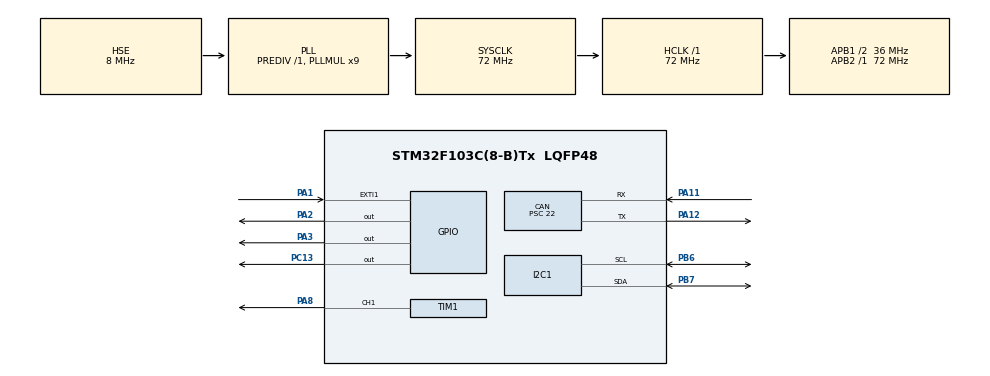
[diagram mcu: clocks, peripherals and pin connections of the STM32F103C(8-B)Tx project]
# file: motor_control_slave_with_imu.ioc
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CAN.BS1=CAN_BS1_2TQ
CAN.BS2=CAN_BS2_2TQ
CAN.CalculateBaudRate=327272
CAN.CalculateTimeBit=3055
CAN.CalculateTimeQuantum=611.1111111111111
CAN.Prescaler=22
I2C1.I2C_Mode=I2C_Fast
Mcu.Family=STM32F1
Mcu.Name=STM32F103C(8-B)Tx
Mcu.Package=LQFP48
NVIC.CAN1_RX1_IRQn=true\:0\:0\:false\:false\:true\:true\:true\:true
NVIC.CAN1_SCE_IRQn=true\:0\:0\:false\:false\:true\:true\:true\:true
NVIC.EXTI1_IRQn=true\:0\:0\:false\:false\:true\:true\:true\:true
NVIC.I2C1_EV_IRQn=true\:0\:0\:false\:false\:true\:true\:true\:true
NVIC.PriorityGroup=NVIC_PRIORITYGROUP_4
NVIC.TIM2_IRQn=true\:0\:0\:false\:false\:true\:true\:true\:true
NVIC.USB_HP_CAN1_TX_IRQn=true\:0\:0\:false\:false\:true\:true\:true\:true
NVIC.USB_LP_CAN1_RX0_IRQn=true\:0\:0\:false\:false\:true\:true\:true\:true
PA1.GPIO_ModeDefaultEXTI=GPIO_MODE_IT_RISING_FALLING
PA1.GPIO_PuPd=GPIO_PULLDOWN
PA1.Signal=GPXTI1
PA11.Mode=CAN_Activate
PA11.Signal=CAN_RX
PA12.Mode=CAN_Activate
PA12.Signal=CAN_TX
PA13.Mode=Serial_Wire
PA13.Signal=SYS_JTMS-SWDIO
PA14.Mode=Serial_Wire
PA14.Signal=SYS_JTCK-SWCLK
PA2.Signal=GPIO_Output
PA3.Signal=GPIO_Output
PA8.Signal=S_TIM1_CH1
PB6.Mode=I2C
PB6.Signal=I2C1_SCL
PB7.Mode=I2C
PB7.Signal=I2C1_SDA
PC13-TAMPER-RTC.Signal=GPIO_Output
PD0-OSC_IN.Mode=HSE-External-Oscillator
PD0-OSC_IN.Signal=RCC_OSC_IN
PD1-OSC_OUT.Mode=HSE-External-Oscillator
PD1-OSC_OUT.Signal=RCC_OSC_OUT
ProjectManager.HeapSize=0x200
ProjectManager.StackSize=0x400
ProjectManager.TargetToolchain=STM32CubeIDE
RCC.AHBFreq_Value=72000000
RCC.APB1CLKDivider=RCC_HCLK_DIV2
RCC.APB1Freq_Value=36000000
RCC.APB1TimFreq_Value=72000000
RCC.APB2Freq_Value=72000000
RCC.APB2TimFreq_Value=72000000
RCC.HCLKFreq_Value=72000000
RCC.PLLMUL=RCC_PLL_MUL9
RCC.PLLSourceVirtual=RCC_PLLSOURCE_HSE
RCC.SYSCLKFreq_VALUE=72000000
RCC.SYSCLKSource=RCC_SYSCLKSOURCE_PLLCLK
RCC.USBFreq_Value=72000000
SH.S_TIM1_CH1.0=TIM1_CH1,PWM Generation1 CH1
TIM1.AutoReloadPreload=TIM_AUTORELOAD_PRELOAD_ENABLE
TIM1.Channel-PWM\ Generation1\ CH1=TIM_CHANNEL_1
TIM1.Period=100-1
TIM1.Prescaler=72-1
TIM2.Period=7200
TIM2.Prescaler=1000
VP_TIM1_VS_ClockSourceINT.Mode=Internal
VP_TIM2_VS_ClockSourceINT.Mode=Internal
board=custom

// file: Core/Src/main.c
/* USER CODE BEGIN Header */
/**
  ******************************************************************************
  * @file           : main.c
  * @brief          : Main program body
  ******************************************************************************
  * @attention
  *
  * Copyright (c) 2023 STMicroelectronics.
  * All rights reserved.
  *
  * This software is licensed under terms that can be found in the LICENSE file
  * in the root directory of this software component.
  * If no LICENSE file comes with this software, it is provided AS-IS.
  *
  ******************************************************************************
  */
/* USER CODE END Header */
#include "main.h"

/* USER CODE BEGIN Includes */

#include "mpu.h"

int count = 100;
int Eticks;
int PPR = 996;
float angle_sweep = 0 ;
float change_of_ticks = 0 ;
int old_ticks = 0 ;
float change_of_ang = 0;
float speed;

float error ;
float dt ;
float integral;
float deri;
float lasterror;
float pout;
float dout;
float iout ;

float output ;
uint16_t lasttime;

float mytime;

float kp = .91;
float ki = .01;
float kd = 1.5;

uint8_t txdata[8];
uint8_t rxdata[8];

uint8_t recievedSpeed;
uint8_t targetspeed  = 50 ;

int ctime;
int ptime;

int mpuctime;
int mpuptime;

/* USER CODE END Includes */

/* USER CODE BEGIN PTD */
MPU6050_t MPU6050;
/* USER CODE END PTD */

CAN_HandleTypeDef hcan;

I2C_HandleTypeDef hi2c1;

TIM_HandleTypeDef htim1;
TIM_HandleTypeDef htim2;

void SystemClock_Config(void);
static void MX_GPIO_Init(void);
static void MX_CAN_Init(void);
static void MX_TIM1_Init(void);
static void MX_TIM2_Init(void);
static void MX_I2C1_Init(void);

/* USER CODE BEGIN 0 */
CAN_TxHeaderTypeDef Txheader;
CAN_RxHeaderTypeDef Rxheader;

uint16_t data;

uint32_t mailbox;
int datacheck = 1;
int M_PWM ;

// void HAL_GPIO_EXTI_Callback(uint16_t GPIO_Pin)
// {
//	 if(GPIO_Pin == GPIO_PIN_14)
//	 {
//		 txdata[0] = 100;
//		 txdata[1] = 2;
//
//		 HAL_CAN_AddTxMessage(&hcan, &Txheader, txdata, &mailbox);
//	 }
// }

float deltaT;

uint16_t PID()
{

	ctime = micros();
	deltaT = (ctime - ptime);
	ptime = ctime;
	error = targetspeed - speed;
//	dt = .001;
	deri = (error - lasterror)/(deltaT*0.0002666667);
	integral += error * (deltaT*0.0002666667);
	iout = ki*integral;
	dout = kd*deri;
	pout = kp*error;
	output = pout + iout + dout;
	lasterror = error;

return output;

}

int micros(void)
{
  uint32_t m0 = HAL_GetTick();
  uint32_t u0 = SysTick->LOAD - SysTick->VAL;
  uint32_t m1 = HAL_GetTick();
  uint32_t u1 = SysTick->LOAD - SysTick->VAL;

  if (m1 > m0) {
    return ( m1 * 1000 + (u1 * 1000) / SysTick->LOAD);
  } else {
    return ( m0 * 1000 + (u0 * 1000) / SysTick->LOAD);
  }
}

void HAL_GPIO_EXTI_Callback(uint16_t GPIO_Pin)
{
    if(GPIO_Pin == GPIO_PIN_1 )
    {
    Eticks++;
    }
}

void HAL_TIM_PeriodElapsedCallback(TIM_HandleTypeDef* htim)
{
	change_of_ang = ((Eticks - old_ticks)*(0.361));

	speed = change_of_ang * 10 * .1666 ;

	old_ticks = Eticks;
//    HAL_GPIO_TogglePin(GPIOC, GPIO_PIN_13);
}

void HAL_CAN_RxFifo0MsgPendingCallback(CAN_HandleTypeDef *hcan)
 {
//	 count++;
	 datacheck = 100;
//	 HAL_GPIO_TogglePin(GPIOC, GPIO_PIN_13);
	 HAL_CAN_GetRxMessage(hcan, CAN_RX_FIFO0, &Rxheader, rxdata);
	 if(Rxheader.DLC == 2){
		 datacheck = 100;
	 }

 }
/* USER CODE END 0 */

int main(void)
{

  /* MCU Configuration--------------------------------------------------------*/

  /* Reset of all peripherals, Initializes the Flash interface and the Systick. */
  HAL_Init();

  /* Configure the system clock */
  SystemClock_Config();

  /* Initialize all configured peripherals */
  MX_GPIO_Init();
  MX_CAN_Init();
  MX_TIM1_Init();
  MX_TIM2_Init();
  MX_I2C1_Init();
  /* USER CODE BEGIN 2 */
  HAL_TIM_Base_Start_IT(&htim2);
  HAL_CAN_Start(&hcan);

  HAL_CAN_ActivateNotification(&hcan, CAN_IT_RX_FIFO0_MSG_PENDING);
  HAL_TIM_PWM_Start(&htim1, TIM_CHANNEL_1);

  MPU6050_Init(&hi2c1);

//  rxdata[1] = 1;

//  recievedSpeed = ;
//  targetspeed =recievedSpeed;

  /* USER CODE END 2 */

  /* Infinite loop */
  /* USER CODE BEGIN WHILE */
  while (1)
  {

	   data = PID();
//if(datacheck==100){

		  HAL_GPIO_WritePin(GPIOC, GPIO_PIN_2,SET);

		  TIM1->CCR1 = data;

		  if(data>255){
			  TIM1->CCR1 = 255;
		  }

		  if(data < 8){
			  TIM1->CCR1 = 0;
		  }

		  mpuctime = micros();

		  if(mpuctime - mpuptime >= 150000){
			  MPU6050_Read_All(&hi2c1, &MPU6050);
			  mpuptime =  mpuctime;
		  }

//		  datacheck = 0;}

//	  output = (uint8_t)PID();
//	  if(datacheck == 100){
//		  if(rxdata[1] == 1){
//			HAL_GPIO_WritePin(GPIOA, GPIO_PIN_3, SET);
//		  	  TIM1 -> CCR1 = output;
//		  	  datacheck = 0;
//		  }
//
//
//		  if(datacheck == 100){
//				 for(int i = 0 ; i <rxdata[1] ; i++)
//				 {
//					 HAL_GPIO_TogglePin(GPIOC, GPIO_PIN_13);
//					 HAL_Delay(rxdata[0]);
//					 datacheck = 0 ;
//				 }}
//}
////			 HAL_CAN_AddTxMessage(&hcan, &Txheader, txdata, &mailbox);
////		 }
    /* USER CODE END WHILE */

    /* USER CODE BEGIN 3 */
//
//  }}
  /* USER CODE END 3 */
}}

void SystemClock_Config(void)
{
  RCC_OscInitTypeDef RCC_OscInitStruct = {0};
  RCC_ClkInitTypeDef RCC_ClkInitStruct = {0};

  /** Initializes the RCC Oscillators according to the specified parameters
  * in the RCC_OscInitTypeDef structure.
  */
  RCC_OscInitStruct.OscillatorType = RCC_OSCILLATORTYPE_HSE;
  RCC_OscInitStruct.HSEState = RCC_HSE_ON;
  RCC_OscInitStruct.HSEPredivValue = RCC_HSE_PREDIV_DIV1;
  RCC_OscInitStruct.HSIState = RCC_HSI_ON;
  RCC_OscInitStruct.PLL.PLLState = RCC_PLL_ON;
  RCC_OscInitStruct.PLL.PLLSource = RCC_PLLSOURCE_HSE;
  RCC_OscInitStruct.PLL.PLLMUL = RCC_PLL_MUL9;
  if (HAL_RCC_OscConfig(&RCC_OscInitStruct) != HAL_OK)
  {
    Error_Handler();
  }

  /** Initializes the CPU, AHB and APB buses clocks
  */
  RCC_ClkInitStruct.ClockType = RCC_CLOCKTYPE_HCLK|RCC_CLOCKTYPE_SYSCLK
                              |RCC_CLOCKTYPE_PCLK1|RCC_CLOCKTYPE_PCLK2;
  RCC_ClkInitStruct.SYSCLKSource = RCC_SYSCLKSOURCE_PLLCLK;
  RCC_ClkInitStruct.AHBCLKDivider = RCC_SYSCLK_DIV1;
  RCC_ClkInitStruct.APB1CLKDivider = RCC_HCLK_DIV2;
  RCC_ClkInitStruct.APB2CLKDivider = RCC_HCLK_DIV1;

  if (HAL_RCC_ClockConfig(&RCC_ClkInitStruct, FLASH_LATENCY_2) != HAL_OK)
  {
    Error_Handler();
  }
}

static void MX_CAN_Init(void)
{

  hcan.Instance = CAN1;
  hcan.Init.Prescaler = 22;
  hcan.Init.Mode = CAN_MODE_NORMAL;
  hcan.Init.SyncJumpWidth = CAN_SJW_1TQ;
  hcan.Init.TimeSeg1 = CAN_BS1_2TQ;
  hcan.Init.TimeSeg2 = CAN_BS2_2TQ;
  hcan.Init.TimeTriggeredMode = DISABLE;
  hcan.Init.AutoBusOff = DISABLE;
  hcan.Init.AutoWakeUp = DISABLE;
  hcan.Init.AutoRetransmission = DISABLE;
  hcan.Init.ReceiveFifoLocked = DISABLE;
  hcan.Init.TransmitFifoPriority = DISABLE;
  if (HAL_CAN_Init(&hcan) != HAL_OK)
  {
    Error_Handler();
  }
  /* USER CODE BEGIN CAN_Init 2 */
  CAN_FilterTypeDef canfilterconfig;
  canfilterconfig.FilterActivation = CAN_FILTER_ENABLE;
  canfilterconfig.FilterBank = 10; // which filter bank to use from the assigned ones
  canfilterconfig.FilterFIFOAssignment = CAN_FILTER_FIFO0;
  canfilterconfig.FilterIdHigh =  0x001<<5;
  canfilterconfig.FilterIdLow = 0;
  canfilterconfig.FilterMaskIdHigh =  0x001<<5;
  canfilterconfig.FilterMaskIdLow = 0x0000;
  canfilterconfig.FilterMode = CAN_FILTERMODE_IDLIST ;
  canfilterconfig.FilterScale = CAN_FILTERSCALE_32BIT;
  canfilterconfig.SlaveStartFilterBank =  1; // how many filters to assign to the CAN1 (master can)
  HAL_CAN_ConfigFilter(&hcan, &canfilterconfig);
  /* USER CODE END CAN_Init 2 */

}

static void MX_I2C1_Init(void)
{

  hi2c1.Instance = I2C1;
  hi2c1.Init.ClockSpeed = 400000;
  hi2c1.Init.DutyCycle = I2C_DUTYCYCLE_2;
  hi2c1.Init.OwnAddress1 = 0;
  hi2c1.Init.AddressingMode = I2C_ADDRESSINGMODE_7BIT;
  hi2c1.Init.DualAddressMode = I2C_DUALADDRESS_DISABLE;
  hi2c1.Init.OwnAddress2 = 0;
  hi2c1.Init.GeneralCallMode = I2C_GENERALCALL_DISABLE;
  hi2c1.Init.NoStretchMode = I2C_NOSTRETCH_DISABLE;
  if (HAL_I2C_Init(&hi2c1) != HAL_OK)
  {
    Error_Handler();
  }

}

static void MX_TIM1_Init(void)
{

  TIM_ClockConfigTypeDef sClockSourceConfig = {0};
  TIM_MasterConfigTypeDef sMasterConfig = {0};
  TIM_OC_InitTypeDef sConfigOC = {0};
  TIM_BreakDeadTimeConfigTypeDef sBreakDeadTimeConfig = {0};

  htim1.Instance = TIM1;
  htim1.Init.Prescaler = 72-1;
  htim1.Init.CounterMode = TIM_COUNTERMODE_UP;
  htim1.Init.Period = 100-1;
  htim1.Init.ClockDivision = TIM_CLOCKDIVISION_DIV1;
  htim1.Init.RepetitionCounter = 0;
  htim1.Init.AutoReloadPreload = TIM_AUTORELOAD_PRELOAD_ENABLE;
  if (HAL_TIM_Base_Init(&htim1) != HAL_OK)
  {
    Error_Handler();
  }
  sClockSourceConfig.ClockSource = TIM_CLOCKSOURCE_INTERNAL;
  if (HAL_TIM_ConfigClockSource(&htim1, &sClockSourceConfig) != HAL_OK)
  {
    Error_Handler();
  }
  if (HAL_TIM_PWM_Init(&htim1) != HAL_OK)
  {
    Error_Handler();
  }
  sMasterConfig.MasterOutputTrigger = TIM_TRGO_RESET;
  sMasterConfig.MasterSlaveMode = TIM_MASTERSLAVEMODE_DISABLE;
  if (HAL_TIMEx_MasterConfigSynchronization(&htim1, &sMasterConfig) != HAL_OK)
  {
    Error_Handler();
  }
  sConfigOC.OCMode = TIM_OCMODE_PWM1;
  sConfigOC.Pulse = 0;
  sConfigOC.OCPolarity = TIM_OCPOLARITY_HIGH;
  sConfigOC.OCNPolarity = TIM_OCNPOLARITY_HIGH;
  sConfigOC.OCFastMode = TIM_OCFAST_DISABLE;
  sConfigOC.OCIdleState = TIM_OCIDLESTATE_RESET;
  sConfigOC.OCNIdleState = TIM_OCNIDLESTATE_RESET;
  if (HAL_TIM_PWM_ConfigChannel(&htim1, &sConfigOC, TIM_CHANNEL_1) != HAL_OK)
  {
    Error_Handler();
  }
  sBreakDeadTimeConfig.OffStateRunMode = TIM_OSSR_DISABLE;
  sBreakDeadTimeConfig.OffStateIDLEMode = TIM_OSSI_DISABLE;
  sBreakDeadTimeConfig.LockLevel = TIM_LOCKLEVEL_OFF;
  sBreakDeadTimeConfig.DeadTime = 0;
  sBreakDeadTimeConfig.BreakState = TIM_BREAK_DISABLE;
  sBreakDeadTimeConfig.BreakPolarity = TIM_BREAKPOLARITY_HIGH;
  sBreakDeadTimeConfig.AutomaticOutput = TIM_AUTOMATICOUTPUT_DISABLE;
  if (HAL_TIMEx_ConfigBreakDeadTime(&htim1, &sBreakDeadTimeConfig) != HAL_OK)
  {
    Error_Handler();
  }
  HAL_TIM_MspPostInit(&htim1);

}

static void MX_TIM2_Init(void)
{

  TIM_ClockConfigTypeDef sClockSourceConfig = {0};
  TIM_MasterConfigTypeDef sMasterConfig = {0};

  htim2.Instance = TIM2;
  htim2.Init.Prescaler = 1000;
  htim2.Init.CounterMode = TIM_COUNTERMODE_UP;
  htim2.Init.Period = 7200;
  htim2.Init.ClockDivision = TIM_CLOCKDIVISION_DIV1;
  htim2.Init.AutoReloadPreload = TIM_AUTORELOAD_PRELOAD_DISABLE;
  if (HAL_TIM_Base_Init(&htim2) != HAL_OK)
  {
    Error_Handler();
  }
  sClockSourceConfig.ClockSource = TIM_CLOCKSOURCE_INTERNAL;
  if (HAL_TIM_ConfigClockSource(&htim2, &sClockSourceConfig) != HAL_OK)
  {
    Error_Handler();
  }
  sMasterConfig.MasterOutputTrigger = TIM_TRGO_RESET;
  sMasterConfig.MasterSlaveMode = TIM_MASTERSLAVEMODE_DISABLE;
  if (HAL_TIMEx_MasterConfigSynchronization(&htim2, &sMasterConfig) != HAL_OK)
  {
    Error_Handler();
  }

}

static void MX_GPIO_Init(void)
{
  GPIO_InitTypeDef GPIO_InitStruct = {0};

  /* GPIO Ports Clock Enable */
  __HAL_RCC_GPIOC_CLK_ENABLE();
  __HAL_RCC_GPIOD_CLK_ENABLE();
  __HAL_RCC_GPIOA_CLK_ENABLE();
  __HAL_RCC_GPIOB_CLK_ENABLE();

  /*Configure GPIO pin Output Level */
  HAL_GPIO_WritePin(GPIOC, GPIO_PIN_13, GPIO_PIN_RESET);

  /*Configure GPIO pin Output Level */
  HAL_GPIO_WritePin(GPIOA, GPIO_PIN_2|GPIO_PIN_3, GPIO_PIN_RESET);

  /*Configure GPIO pin : PC13 */
  GPIO_InitStruct.Pin = GPIO_PIN_13;
  GPIO_InitStruct.Mode = GPIO_MODE_OUTPUT_PP;
  GPIO_InitStruct.Pull = GPIO_NOPULL;
  GPIO_InitStruct.Speed = GPIO_SPEED_FREQ_LOW;
  HAL_GPIO_Init(GPIOC, &GPIO_InitStruct);

  /*Configure GPIO pin : PA1 */
  GPIO_InitStruct.Pin = GPIO_PIN_1;
  GPIO_InitStruct.Mode = GPIO_MODE_IT_RISING_FALLING;
  GPIO_InitStruct.Pull = GPIO_PULLDOWN;
  HAL_GPIO_Init(GPIOA, &GPIO_InitStruct);

  /*Configure GPIO pins : PA2 PA3 */
  GPIO_InitStruct.Pin = GPIO_PIN_2|GPIO_PIN_3;
  GPIO_InitStruct.Mode = GPIO_MODE_OUTPUT_PP;
  GPIO_InitStruct.Pull = GPIO_NOPULL;
  GPIO_InitStruct.Speed = GPIO_SPEED_FREQ_LOW;
  HAL_GPIO_Init(GPIOA, &GPIO_InitStruct);

  /* EXTI interrupt init*/
  HAL_NVIC_SetPriority(EXTI1_IRQn, 0, 0);
  HAL_NVIC_EnableIRQ(EXTI1_IRQn);

}

void Error_Handler(void)
{
  __disable_irq();
  while (1)
  {
  }
}
